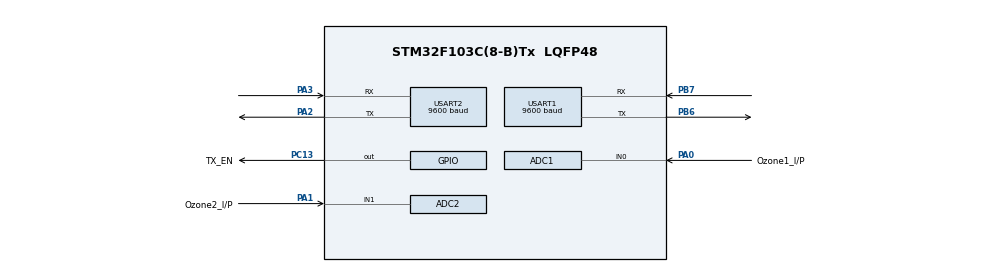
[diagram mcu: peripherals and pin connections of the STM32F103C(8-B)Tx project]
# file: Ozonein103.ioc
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ADC1.Channel-0\#ChannelRegularConversion=ADC_CHANNEL_0
ADC1.ContinuousConvMode=ENABLE
ADC1.DiscontinuousConvMode=DISABLE
ADC1.NbrOfConversion=1
ADC1.NbrOfConversionFlag=1
ADC1.Rank-0\#ChannelRegularConversion=1
ADC1.SamplingTime-0\#ChannelRegularConversion=ADC_SAMPLETIME_1CYCLE_5
ADC1.master=1
ADC2.Channel-2\#ChannelRegularConversion=ADC_CHANNEL_1
ADC2.ContinuousConvMode=ENABLE
ADC2.NbrOfConversion=1
ADC2.NbrOfConversionFlag=1
ADC2.Rank-2\#ChannelRegularConversion=1
ADC2.SamplingTime-2\#ChannelRegularConversion=ADC_SAMPLETIME_1CYCLE_5
Mcu.Family=STM32F1
Mcu.Name=STM32F103C(8-B)Tx
Mcu.Package=LQFP48
NVIC.PriorityGroup=NVIC_PRIORITYGROUP_4
NVIC.USART1_IRQn=true\:0\:0\:false\:false\:true\:true\:true\:true
PA0-WKUP.GPIO_Label=Ozone1_I/P
PA0-WKUP.Signal=ADCx_IN0
PA1.GPIO_Label=Ozone2_I/P
PA1.Signal=ADCx_IN1
PA13.Mode=Serial_Wire
PA13.Signal=SYS_JTMS-SWDIO
PA14.Mode=Serial_Wire
PA14.Signal=SYS_JTCK-SWCLK
PA2.Mode=Asynchronous
PA2.Signal=USART2_TX
PA3.Mode=Asynchronous
PA3.Signal=USART2_RX
PB6.Mode=Asynchronous
PB6.Signal=USART1_TX
PB7.Mode=Asynchronous
PB7.Signal=USART1_RX
PC13-TAMPER-RTC.GPIO_Label=TX_EN
PC13-TAMPER-RTC.Signal=GPIO_Output
PC14-OSC32_IN.Mode=LSE-External-Oscillator
PC14-OSC32_IN.Signal=RCC_OSC32_IN
PC15-OSC32_OUT.Mode=LSE-External-Oscillator
PC15-OSC32_OUT.Signal=RCC_OSC32_OUT
PD0-OSC_IN.Mode=HSE-External-Oscillator
PD0-OSC_IN.Signal=RCC_OSC_IN
PD1-OSC_OUT.Mode=HSE-External-Oscillator
PD1-OSC_OUT.Signal=RCC_OSC_OUT
ProjectManager.HeapSize=0x200
ProjectManager.StackSize=0x400
ProjectManager.TargetToolchain=STM32CubeIDE
RCC.APB1Freq_Value=8000000
RCC.APB2Freq_Value=8000000
SH.ADCx_IN0.0=ADC1_IN0,IN0
SH.ADCx_IN1.0=ADC2_IN1,IN1
USART1.BaudRate=9600
USART1.VirtualMode=VM_ASYNC
USART2.BaudRate=9600
USART2.VirtualMode=VM_ASYNC
board=custom

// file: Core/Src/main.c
/* USER CODE BEGIN Header */
/**
  ******************************************************************************
  * @file           : main.c
  * @brief          : Main program body
  ******************************************************************************
  * @attention
  *
  * Copyright (c) 2023 STMicroelectronics.
  * All rights reserved.
  *
  * This software is licensed under terms that can be found in the LICENSE file
  * in the root directory of this software component.
  * If no LICENSE file comes with this software, it is provided AS-IS.
  *
  ******************************************************************************
  */
/* USER CODE END Header */
#include "main.h"

ADC_HandleTypeDef hadc1;
ADC_HandleTypeDef hadc2;

UART_HandleTypeDef huart1;
UART_HandleTypeDef huart2;

void SystemClock_Config(void);
static void MX_GPIO_Init(void);
static void MX_ADC1_Init(void);
static void MX_USART1_UART_Init(void);
static void MX_USART2_UART_Init(void);
static void MX_ADC2_Init(void);
/* USER CODE BEGIN PFP */
uint16_t ADC_Read(void);
/* USER CODE END PFP */

/* USER CODE BEGIN 0 */
uint8_t TxData1[15];
uint8_t TxData2[15];
uint8_t TxData3[15];
uint8_t TxData4[15];
uint8_t TxData5[15];
uint8_t TxData6[15];
uint8_t TxData7[15];
uint8_t TxData8[15];
uint8_t rxData[3] , TxozoneBuffer[4];
uint16_t channel_0_value, channel_1_value;
float vol1 , vol2;
uint16_t ozone1 , ozone2;
uint16_t Setpoint1 , Setpoint2;
uint16_t crc_value, C;
uint8_t txData[4] = {0xAA, 0xBB, 0xCC, 0xDD}; // Data to be transmitted

/* USER CODE END 0 */

int main(void)
{

  /* MCU Configuration--------------------------------------------------------*/

  /* Reset of all peripherals, Initializes the Flash interface and the Systick. */
  HAL_Init();

  /* Configure the system clock */
  SystemClock_Config();

  /* Initialize all configured peripherals */
  MX_GPIO_Init();
  MX_ADC1_Init();
  MX_USART1_UART_Init();
  MX_USART2_UART_Init();
  MX_ADC2_Init();
  /* USER CODE BEGIN 2 */
  TxData1[0] = 0xFF;  // slave address
    TxData1[1] = 0x05;  // Force single coil
    TxData1[2] = 0;  // coil address high
    TxData1[3] = 0;  // coil address low
    //The coil address will be 00000000 00000000 = 0 + 1 = 1
    TxData1[4] = 0xFF;  // force data high
    TxData1[5] = 0;  // force data low
    TxData1[6] = 0x99;//crc
    TxData1[7] = 0xE4;

    TxData2[0] = 0xFF;  // slave address
    TxData2[1] = 0x05;  // Force single coil
    TxData2[2] = 0;  // coil address high
    TxData2[3] = 0;  // coil address low
    //The coil address will be 00000000 00000000 = 0 + 1 = 1
    TxData2[4] = 0;  // force data high
    TxData2[5] = 0;  // force data low
    TxData2[6] = 0xD8;//crc
    TxData2[7] = 0x14;

    TxData3[0] = 0xFF;  // slave address
      TxData3[1] = 0x05;  // Force single coil
      TxData3[2] = 0;  // coil address high
      TxData3[3] = 0X01;  // coil address low
      //The coil address will be 00000000 00000000 = 0 + 1 = 1
      TxData3[4] = 0xFF;  // force data high
      TxData3[5] = 0;  // force data low
      TxData3[6] = 0xC8;//crc
      TxData3[7] = 0x24;

      TxData4[0] = 0xFF;  // slave address
      TxData4[1] = 0x05;  // Force single coil
      TxData4[2] = 0;  // coil address high
      TxData4[3] = 0X01;  // coil address low
      //The coil address will be 00000000 00000000 = 0 + 1 = 1
      TxData4[4] = 0;  // force data high
      TxData4[5] = 0;  // force data low
      TxData4[6] = 0x89;//crc
      TxData4[7] = 0xD4;

      TxData5[0] = 0xFF;  // slave address
        TxData5[1] = 0x05;  // Force single coil
        TxData5[2] = 0;  // coil address high
        TxData5[3] = 0X02;  // coil address low
        //The coil address will be 00000000 00000000 = 0 + 1 = 1
        TxData5[4] = 0xFF;  // force data high
        TxData5[5] = 0;  // force data low
        TxData5[6] = 0x38;//crc
        TxData5[7] = 0x24;

        TxData6[0] = 0xFF;  // slave address
        TxData6[1] = 0x05;  // Force single coil
        TxData6[2] = 0;  // coil address high
        TxData6[3] = 0X02;  // coil address low
        //The coil address will be 00000000 00000000 = 0 + 1 = 1
        TxData6[4] = 0;  // force data high
        TxData6[5] = 0;  // force data low
        TxData6[6] = 0x79;//crc
        TxData6[7] = 0xD4;

        TxData7[0] = 0xFF;  // slave address
          TxData7[1] = 0x05;  // Force single coil
          TxData7[2] = 0;  // coil address highagain
          TxData7[3] = 0X03;  // coil address low
          //The coil address will be 00000000 00000000 = 0 + 1 = 1
          TxData7[4] = 0xFF;  // force data high
          TxData7[5] = 0;  // force data low
          TxData7[6] = 0x69;//crc
          TxData7[7] = 0xE4;
          TxData8[0] = 0xFF;  // slave address
          TxData8[1] = 0x05;  // Force single coil
          TxData8[2] = 0;  // coil address high
          TxData8[3] = 0X03;  // c oil address low
          //The coil address will be 00000000 00000000 = 0 + 1 = 1
          TxData8[4] = 0;  // force data high
          TxData8[5] = 0;  // force data low
          TxData8[6] = 0x28;//crc
          TxData8[7] = 0x14;
  /* USER CODE END 2 */

  /* Infinite loop */
  /* USER CODE BEGIN WHILE */
  while (1)
  {
			HAL_ADC_Start(&hadc1);
			HAL_ADC_PollForConversion(&hadc1, 1000);
			channel_0_value = HAL_ADC_GetValue(&hadc1);
			HAL_ADC_Stop(&hadc1);
			HAL_ADC_Start(&hadc2);
			HAL_ADC_PollForConversion(&hadc2, 1000);
			// Read channel 0 value
			// Wait for ADC conversion to complete
			channel_1_value = HAL_ADC_GetValue(&hadc2);
			HAL_ADC_Stop(&hadc2);

	  	         // Read channel 1 value
	  	  	 	   vol1 = channel_0_value * 0.00080;
	  	  	 	   vol2 = channel_1_value * 0.00080;
	  	  	 	   ozone1 = vol1 * 3030;
	  	  	 	   ozone2 = vol2 * 3030;
	  	  	 	if(ozone1<=10)
	  	  	 				{
	  	  	 		 	 		ozone1=10;
	  	  	 		 	 	}
	  	  	 	if(ozone2<=10)
	  	  	 		  	 				{
	  	  	 		  	 		 	 		ozone2=10;
	  	  	 		  	 		 	 	}
	  	  	 	   TxozoneBuffer[0] = ozone1/100;//(ozone1 & 0xff00) >> 8;
	  	  	 	   TxozoneBuffer[1] = ozone1%100;//(ozone1 & 0x00ff);
	  	  	 	   TxozoneBuffer[2] = ozone2/100;//(ozone2 & 0xff00) >> 8;
	  	  	 	   TxozoneBuffer[3] = ozone2%100;//(ozone2 & 0x00ff);

	  	  	  HAL_UART_Transmit(&huart1,(uint8_t*)&TxozoneBuffer,4, 500);

//	  	  	  HAL_UART_Transmit(&huart4, (uint8_t*)&crc_value, sizeof(crc_value), HAL_MAX_DELAY); // Transmit the CRC

	  	  	  //Break
	  	  	  HAL_UART_Receive_IT (&huart1, rxData, 3);
	  	  	 	if(rxData[0]==1)
	  	  	 	{
	  	  	 		Setpoint1 =	((rxData[1] & 0x00FF) << 8) + (rxData[2] & 0x00FF);
	  	  	 	HAL_Delay(10);
	  	  	 	}
	  	  	 	else if(rxData[0]==2)
	  	  	 	{
	  	  	 		Setpoint2 = ((rxData[1] & 0x00FF) << 8) + (rxData[2] & 0x00FF);
	  	  	 	HAL_Delay(20);
	  	  	 	}
	  	 	 	  if(Setpoint1 > ozone1)
	  			  {
	  	  	 		HAL_GPIO_WritePin(TX_EN_GPIO_Port, TX_EN_Pin, GPIO_PIN_SET);
	  	  	 			   	HAL_UART_Transmit(&huart2, TxData1, 8, 1000);
	  	  	 			   	HAL_Delay(1000);
	  			  }
	  	  	 	  else
	  	  	 	  {
	  	  	 		HAL_GPIO_WritePin(TX_EN_GPIO_Port, TX_EN_Pin, GPIO_PIN_SET);
	  	  	 		HAL_UART_Transmit(&huart2, TxData2, 8, 1000);
	  	  	 		  	 			   	HAL_Delay(1000);
	  	  	 	  }
	  	 	 	if(Setpoint2 > ozone2)
	  	 	 				  {
	  	 	 		  	 		HAL_GPIO_WritePin(TX_EN_GPIO_Port, TX_EN_Pin, GPIO_PIN_SET);
	  	 	 		  	 			   	HAL_UART_Transmit(&huart2, TxData3, 8, 1000);
	  	 	 		  	 			   	HAL_Delay(1000);
	  	 	 				  }
	  	 	 		  	 	  else
	  	 	 		  	 	  {
	  	 	 		  	 		HAL_GPIO_WritePin(TX_EN_GPIO_Port, TX_EN_Pin, GPIO_PIN_SET);
	  	 	 		  	 		HAL_UART_Transmit(&huart2, TxData4, 8, 1000);
	  	 	 		  	 		  	 			   	HAL_Delay(1000);
	  	 	 		  	 	  }
    /* USER CODE END WHILE */

  }
}

void SystemClock_Config(void)
{
  RCC_OscInitTypeDef RCC_OscInitStruct = {0};
  RCC_ClkInitTypeDef RCC_ClkInitStruct = {0};
  RCC_PeriphCLKInitTypeDef PeriphClkInit = {0};

  /** Initializes the RCC Oscillators according to the specified parameters
  * in the RCC_OscInitTypeDef structure.
  */
  RCC_OscInitStruct.OscillatorType = RCC_OSCILLATORTYPE_HSI;
  RCC_OscInitStruct.HSIState = RCC_HSI_ON;
  RCC_OscInitStruct.HSICalibrationValue = RCC_HSICALIBRATION_DEFAULT;
  RCC_OscInitStruct.PLL.PLLState = RCC_PLL_NONE;
  if (HAL_RCC_OscConfig(&RCC_OscInitStruct) != HAL_OK)
  {
    Error_Handler();
  }

  /** Initializes the CPU, AHB and APB buses clocks
  */
  RCC_ClkInitStruct.ClockType = RCC_CLOCKTYPE_HCLK|RCC_CLOCKTYPE_SYSCLK
                              |RCC_CLOCKTYPE_PCLK1|RCC_CLOCKTYPE_PCLK2;
  RCC_ClkInitStruct.SYSCLKSource = RCC_SYSCLKSOURCE_HSI;
  RCC_ClkInitStruct.AHBCLKDivider = RCC_SYSCLK_DIV1;
  RCC_ClkInitStruct.APB1CLKDivider = RCC_HCLK_DIV1;
  RCC_ClkInitStruct.APB2CLKDivider = RCC_HCLK_DIV1;

  if (HAL_RCC_ClockConfig(&RCC_ClkInitStruct, FLASH_LATENCY_0) != HAL_OK)
  {
    Error_Handler();
  }
  PeriphClkInit.PeriphClockSelection = RCC_PERIPHCLK_ADC;
  PeriphClkInit.AdcClockSelection = RCC_ADCPCLK2_DIV2;
  if (HAL_RCCEx_PeriphCLKConfig(&PeriphClkInit) != HAL_OK)
  {
    Error_Handler();
  }
}

static void MX_ADC1_Init(void)
{

  ADC_ChannelConfTypeDef sConfig = {0};

  /** Common config
  */
  hadc1.Instance = ADC1;
  hadc1.Init.ScanConvMode = ADC_SCAN_DISABLE;
  hadc1.Init.ContinuousConvMode = ENABLE;
  hadc1.Init.DiscontinuousConvMode = DISABLE;
  hadc1.Init.ExternalTrigConv = ADC_SOFTWARE_START;
  hadc1.Init.DataAlign = ADC_DATAALIGN_RIGHT;
  hadc1.Init.NbrOfConversion = 1;
  if (HAL_ADC_Init(&hadc1) != HAL_OK)
  {
    Error_Handler();
  }

  /** Configure Regular Channel
  */
  sConfig.Channel = ADC_CHANNEL_0;
  sConfig.Rank = ADC_REGULAR_RANK_1;
  sConfig.SamplingTime = ADC_SAMPLETIME_1CYCLE_5;
  if (HAL_ADC_ConfigChannel(&hadc1, &sConfig) != HAL_OK)
  {
    Error_Handler();
  }

}

static void MX_ADC2_Init(void)
{

  ADC_ChannelConfTypeDef sConfig = {0};

  /** Common config
  */
  hadc2.Instance = ADC2;
  hadc2.Init.ScanConvMode = ADC_SCAN_DISABLE;
  hadc2.Init.ContinuousConvMode = ENABLE;
  hadc2.Init.DiscontinuousConvMode = DISABLE;
  hadc2.Init.ExternalTrigConv = ADC_SOFTWARE_START;
  hadc2.Init.DataAlign = ADC_DATAALIGN_RIGHT;
  hadc2.Init.NbrOfConversion = 1;
  if (HAL_ADC_Init(&hadc2) != HAL_OK)
  {
    Error_Handler();
  }

  /** Configure Regular Channel
  */
  sConfig.Channel = ADC_CHANNEL_1;
  sConfig.Rank = ADC_REGULAR_RANK_1;
  sConfig.SamplingTime = ADC_SAMPLETIME_1CYCLE_5;
  if (HAL_ADC_ConfigChannel(&hadc2, &sConfig) != HAL_OK)
  {
    Error_Handler();
  }

}

static void MX_USART1_UART_Init(void)
{

  huart1.Instance = USART1;
  huart1.Init.BaudRate = 9600;
  huart1.Init.WordLength = UART_WORDLENGTH_8B;
  huart1.Init.StopBits = UART_STOPBITS_1;
  huart1.Init.Parity = UART_PARITY_NONE;
  huart1.Init.Mode = UART_MODE_TX_RX;
  huart1.Init.HwFlowCtl = UART_HWCONTROL_NONE;
  huart1.Init.OverSampling = UART_OVERSAMPLING_16;
  if (HAL_UART_Init(&huart1) != HAL_OK)
  {
    Error_Handler();
  }

}

static void MX_USART2_UART_Init(void)
{

  huart2.Instance = USART2;
  huart2.Init.BaudRate = 9600;
  huart2.Init.WordLength = UART_WORDLENGTH_8B;
  huart2.Init.StopBits = UART_STOPBITS_1;
  huart2.Init.Parity = UART_PARITY_NONE;
  huart2.Init.Mode = UART_MODE_TX_RX;
  huart2.Init.HwFlowCtl = UART_HWCONTROL_NONE;
  huart2.Init.OverSampling = UART_OVERSAMPLING_16;
  if (HAL_UART_Init(&huart2) != HAL_OK)
  {
    Error_Handler();
  }

}

static void MX_GPIO_Init(void)
{
  GPIO_InitTypeDef GPIO_InitStruct = {0};

  /* GPIO Ports Clock Enable */
  __HAL_RCC_GPIOC_CLK_ENABLE();
  __HAL_RCC_GPIOD_CLK_ENABLE();
  __HAL_RCC_GPIOA_CLK_ENABLE();
  __HAL_RCC_GPIOB_CLK_ENABLE();

  /*Configure GPIO pin Output Level */
  HAL_GPIO_WritePin(TX_EN_GPIO_Port, TX_EN_Pin, GPIO_PIN_RESET);

  /*Configure GPIO pin : TX_EN_Pin */
  GPIO_InitStruct.Pin = TX_EN_Pin;
  GPIO_InitStruct.Mode = GPIO_MODE_OUTPUT_PP;
  GPIO_InitStruct.Pull = GPIO_NOPULL;
  GPIO_InitStruct.Speed = GPIO_SPEED_FREQ_LOW;
  HAL_GPIO_Init(TX_EN_GPIO_Port, &GPIO_InitStruct);

}

void Error_Handler(void)
{
  __disable_irq();
  while (1)
  {
  }
}
